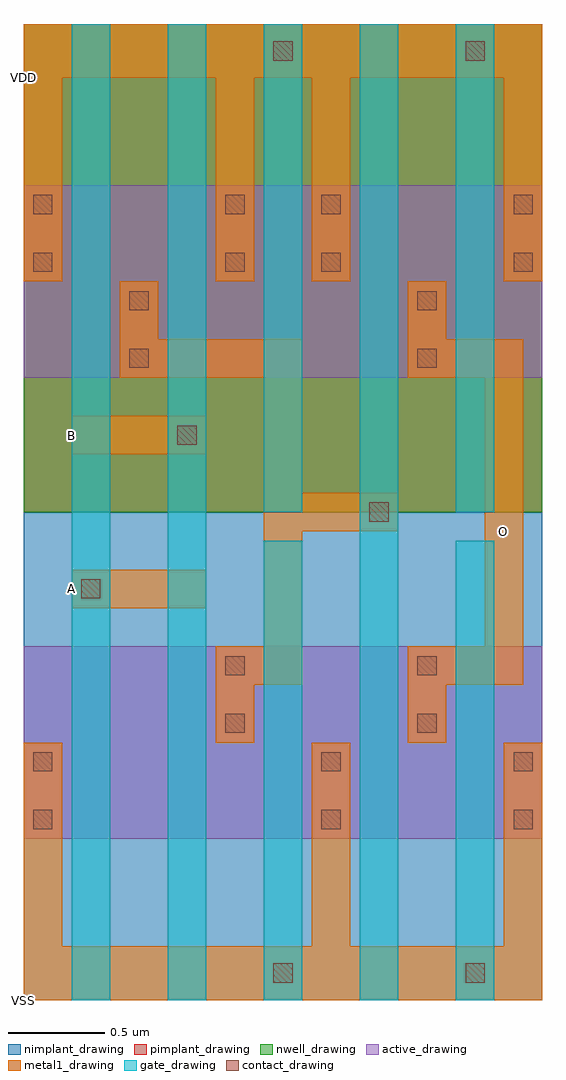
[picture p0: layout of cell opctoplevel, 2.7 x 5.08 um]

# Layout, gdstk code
import gdstk
lib = gdstk.Library(unit=1e-6, precision=1e-09)
def R(c, l, rs):  # rectangles x0, y0, x1, y1
    for r in rs: c.add(gdstk.rectangle(r[:2], r[2:], *l))
def A(c, l, x, y, w, h, nx, ny, dx, dy):  # array of equal rectangles
    R(c, l, [(x+i*dx, y+j*dy, x+i*dx+w, y+j*dy+h) for i in range(nx) for j in range(ny)])
active_drawing = (1, 0)
nwell_drawing = (3, 0)
pimplant_drawing = (4, 0)
nimplant_drawing = (5, 0)
gate_drawing = (6, 0)
contact_drawing = (7, 0)
metal1_drawing = (8, 0)

opctoplevel = lib.new_cell('opctoplevel')
A(opctoplevel, active_drawing, 0, 0, 0.7, 1, 5, 2, 0.5, 2.4)
A(opctoplevel, nwell_drawing, 0, 1.7, 0.7, 2.54, 5, 1, 0.5, 0)
A(opctoplevel, pimplant_drawing, 0, 1.7, 0.7, 2.54, 5, 1, 0.5, 0)
A(opctoplevel, nimplant_drawing, 0, -0.84, 0.7, 2.54, 5, 1, 0.5, 0)
A(opctoplevel, gate_drawing, 0.25, 1.7, 0.2, 2.54, 5, 1, 0.5, 0)
R(opctoplevel, gate_drawing, [(0.25,-0.84,0.45,1.7), (0.75,-0.84,0.95,2.2), (1.25,-0.84,1.45,1.55), (1.25,-0.84,1.45,-0.56), (1.75,-0.84,1.95,1.8), (2.25,-0.84,2.45,1.55), (2.25,-0.84,2.45,-0.56), (0.25,1.2,0.45,1.4), (1.75,1.6,1.95,1.8), (0.75,2,0.95,2.2), (1.25,3.96,1.45,4.24), (2.25,3.96,2.45,4.24)])
R(opctoplevel, contact_drawing, [(1.3,-0.75,1.4,-0.65), (2.3,-0.75,2.4,-0.65), (0.05,0.05,0.15,0.15), (1.55,0.05,1.65,0.15), (1.55,0.05,1.65,0.15), (2.55,0.05,2.65,0.15), (0.05,0.35,0.15,0.45), (1.55,0.35,1.65,0.45), (1.55,0.35,1.65,0.45), (2.55,0.35,2.65,0.45), (1.05,0.55,1.15,0.65), (2.05,0.55,2.15,0.65), (1.05,0.85,1.15,0.95), (2.05,0.85,2.15,0.95), (0.3,1.25,0.4,1.35), (1.8,1.65,1.9,1.75), (0.8,2.05,0.9,2.15), (0.55,2.45,0.65,2.55), (2.05,2.45,2.15,2.55), (0.55,2.75,0.65,2.85), (2.05,2.75,2.15,2.85), (0.05,2.95,0.15,3.05), (1.05,2.95,1.15,3.05), (1.55,2.95,1.65,3.05), (1.55,2.95,1.65,3.05), (2.55,2.95,2.65,3.05), (0.05,3.25,0.15,3.35), (1.05,3.25,1.15,3.35), (1.55,3.25,1.65,3.35), (1.55,3.25,1.65,3.35), (2.55,3.25,2.65,3.35), (1.3,4.05,1.4,4.15), (2.3,4.05,2.4,4.15)])
R(opctoplevel, metal1_drawing, [(0,-0.84,1.7,-0.56), (1.25,-0.84,1.45,-0.56), (1.25,-0.84,1.45,-0.56), (1.5,-0.84,2.7,-0.56), (2.25,-0.84,2.45,-0.56), (2.25,-0.84,2.45,-0.56), (0,-0.56,0.2,0), (1.5,-0.56,1.7,0), (1.5,-0.56,1.7,0), (2.5,-0.56,2.7,0), (0,0,0.2,0.5), (1.5,0,1.7,0.5), (1.5,0,1.7,0.5), (2.5,0,2.7,0.5), (1,0.5,1.2,1), (2,0.5,2.2,1), (0.25,1.2,0.45,1.4), (0.25,1.2,0.45,1.4), (0.25,1.2,0.95,1.4), (1.25,1.6,1.95,1.8), (1.75,1.6,1.95,1.8), (1.75,1.6,1.95,1.8), (0.25,2,0.75,2.2), (0.75,2,0.95,2.2), (0.75,2,0.95,2.2), (0.5,2.4,0.7,2.9), (2,2.4,2.2,2.9), (0,2.9,0.2,3.4), (1,2.9,1.2,3.4), (1.5,2.9,1.7,3.4), (1.5,2.9,1.7,3.4), (2.5,2.9,2.7,3.4), (0,3.4,0.2,3.96), (1,3.4,1.2,3.96), (1.5,3.4,1.7,3.96), (1.5,3.4,1.7,3.96), (2.5,3.4,2.7,3.96), (0,3.96,1.7,4.24), (1.25,3.96,1.45,4.24), (1.25,3.96,1.45,4.24), (1.5,3.96,2.7,4.24), (2.25,3.96,2.45,4.24), (2.25,3.96,2.45,4.24)])
opctoplevel.add(gdstk.FlexPath([(1.2,0.9),(1.35,0.9),(1.35,2.5),(0.7,2.5)], 0.2, ends="flush", simple_path=True, layer=8, datatype=0))  # metal1_drawing
opctoplevel.add(gdstk.FlexPath([(2.2,2.5),(2.5,2.5),(2.5,0.9),(2.2,0.9)], 0.2, ends="flush", simple_path=True, layer=8, datatype=0))  # metal1_drawing
opctoplevel.add(gdstk.Label('A', (0.25,1.3), layer=8, texttype=1))
opctoplevel.add(gdstk.Label('B', (0.25,2.1), layer=8, texttype=1))
opctoplevel.add(gdstk.Label('O', (2.5,1.6), layer=8, texttype=1))
opctoplevel.add(gdstk.Label('VDD', (0,3.96), layer=8, texttype=1))
opctoplevel.add(gdstk.Label('VSS', (0,-0.84), layer=8, texttype=1))

lib.write_gds('opctoplevel.gds')
